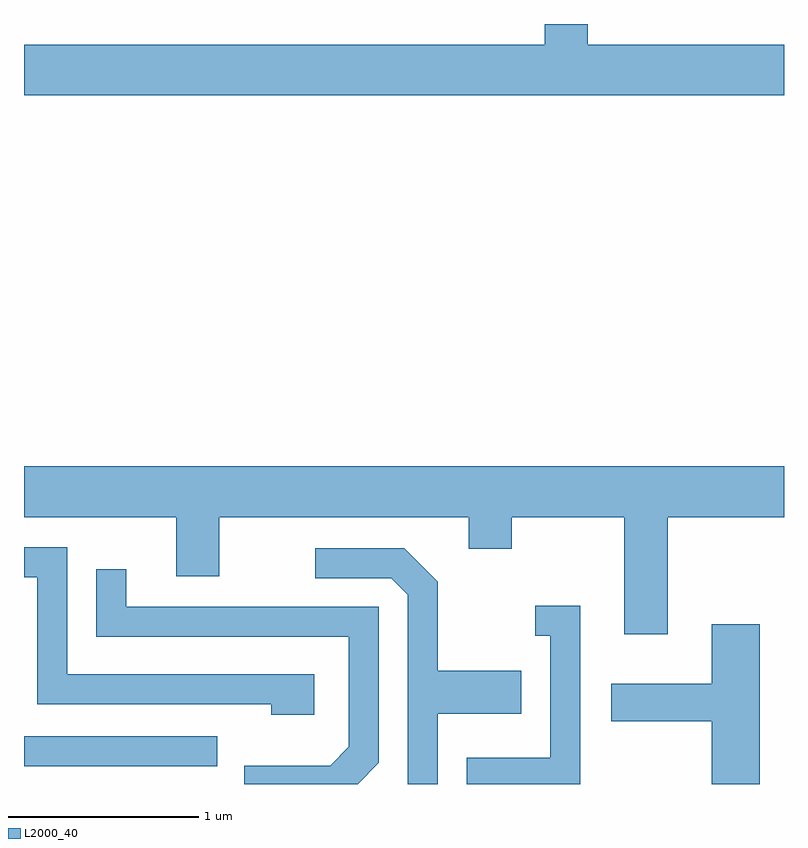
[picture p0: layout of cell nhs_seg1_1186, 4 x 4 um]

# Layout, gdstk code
import gdstk
lib = gdstk.Library(unit=1e-6, precision=1e-09)
def R(c, l, rs):  # rectangles x0, y0, x1, y1
    for r in rs: c.add(gdstk.rectangle(r[:2], r[2:], *l))
def P(c, l, *ps):  # polygons
    for p in ps: c.add(gdstk.Polygon(p, *l))
L2000_40 = (2000, 40)

nhs_seg1_1186 = lib.new_cell('nhs_seg1_1186')
R(nhs_seg1_1186, L2000_40, [(221.611,913.806,222.628,913.964)])
P(nhs_seg1_1186, L2000_40, [(225.611,917.604),(224.579,917.604),(224.579,917.712),(224.351,917.712),(224.351,917.604),(221.611,917.604),(221.611,917.336),(225.611,917.336)],
  [(224.999,915.116),(225.611,915.116),(225.611,915.384),(221.611,915.384),(221.611,915.116),(222.411,915.116),(222.411,914.806),(222.639,914.806),(222.639,915.116),(223.951,915.116),(223.951,914.951),(224.179,914.951),(224.179,915.116),(224.771,915.116),(224.771,914.501),(224.999,914.501)],
  [(223.139,914.289),(221.839,914.289),(221.839,914.959),(221.611,914.959),(221.611,914.801),(221.681,914.801),(221.681,914.131),(222.911,914.131),(222.911,914.076),(223.139,914.076)],
  [(223.789,914.081),(224.229,914.081),(224.229,914.309),(223.789,914.309),(223.789,914.777),(223.612,914.954),(223.143,914.954),(223.143,914.796),(223.544,914.796),(223.631,914.709),(223.631,913.712),(223.789,913.712)],
  [(223.479,913.824),(223.479,914.644),(222.149,914.644),(222.149,914.843),(221.991,914.843),(221.991,914.486),(223.321,914.486),(223.321,913.907),(223.224,913.809),(222.771,913.809),(222.771,913.712),(223.368,913.712)],
  [(224.539,914.649),(224.303,914.649),(224.303,914.491),(224.381,914.491),(224.381,913.849),(223.941,913.849),(223.941,913.712),(224.539,913.712)],
  [(225.484,914.554),(225.231,914.554),(225.231,914.239),(224.701,914.239),(224.701,914.041),(225.231,914.041),(225.231,913.712),(225.484,913.712)])

lib.write_gds('nhs_seg1_1186.gds')
